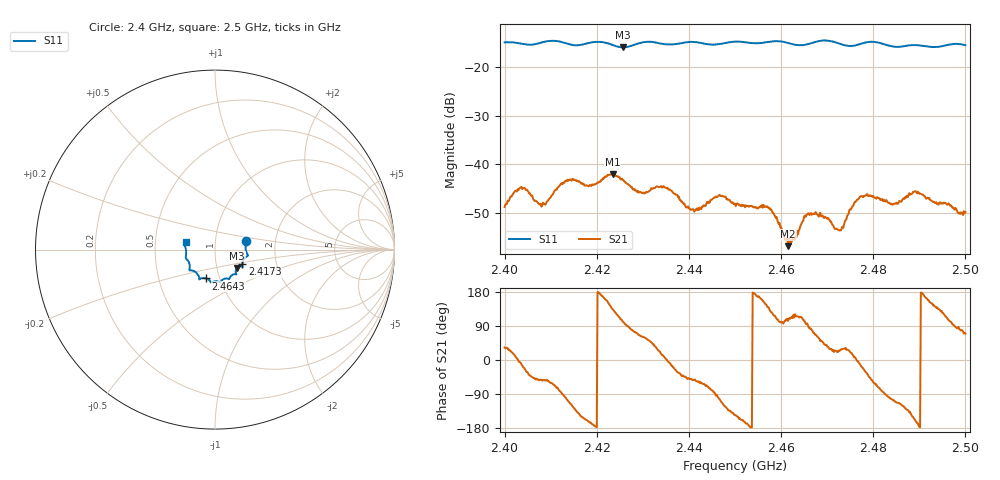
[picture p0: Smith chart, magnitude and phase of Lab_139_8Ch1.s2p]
# Hz S RI R 50
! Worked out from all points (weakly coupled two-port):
!   601 points, 2.4 GHz to 2.5 GHz, reference 50 ohm
!   highest |S21| = -42.11 dB at 2.4235 GHz (marker M1); lowest = -56.9 dB at 2.4615 GHz (marker M2)
!   lowest |S11| = -15.9 dB at 2.4257 GHz (marker M3), VSWR 1.38, Z = 62.5 - j13.1 ohm
!   |S11| at or under -10 dB: start of sweep to end of sweep
!   S12 and S22 are empty: the file has one direction only
!   S11 on the Smith chart (normalised r, x): 2.4 GHz: 1.41, +0.15; 2.4173 GHz: 1.34, -0.23; 2.4643 GHz: 0.86, -0.28; 2.5 GHz: 0.72, +0.06
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2.4e9  0.173 0.0498  0.00304 0.00198  0 0  0 0
2.403333e9  0.173 0.0323  0.00566 -0.00058  0 0  0 0
2.4085e9  0.1803 -0.025  0.00234 -0.00312  0 0  0 0
2.413167e9  0.1721 -0.0412  -0.000901 -0.00657  0 0  0 0
2.416667e9  0.1529 -0.0749  -0.00544 -0.00317  0 0  0 0
2.417333e9  0.1523 -0.0823  -0.00543 -0.00259  0 0  0 0
2.4235e9  0.1409 -0.0933  -0.00541 0.00568  0 0  0 0
2.425667e9  0.1228 -0.1024  -0.00131 0.00674  0 0  0 0
2.429667e9  0.1175 -0.135  0.00234 0.00453  0 0  0 0
2.433333e9  0.1125 -0.1367  0.00528 0.00253  0 0  0 0
2.440833e9  0.0785 -0.1646  0.00206 -0.00277  0 0  0 0
2.446333e9  0.0449 -0.1663  -0.000748 -0.00463  0 0  0 0
2.45e9  0.0297 -0.181  -0.00322 -0.00225  0 0  0 0
2.457333e9  -0.0155 -0.1816  -0.00261 0.00235  0 0  0 0
2.4615e9  -0.0273 -0.1752  -0.000326 0.00139  0 0  0 0
2.464333e9  -0.0502 -0.1606  -0.000964 0.00218  0 0  0 0
2.466667e9  -0.0763 -0.16  0.000553 0.00296  0 0  0 0
2.472667e9  -0.0895 -0.1497  0.00189 0.000853  0 0  0 0
2.477167e9  -0.1282 -0.1164  0.00456 -0.000957  0 0  0 0
2.483333e9  -0.141 -0.0894  -0.000501 -0.00397  0 0  0 0
2.489167e9  -0.1626 -0.0452  -0.00497 -0.00176  0 0  0 0
2.5e9  -0.1633 0.0419  0.00114 0.00301  0 0  0 0
